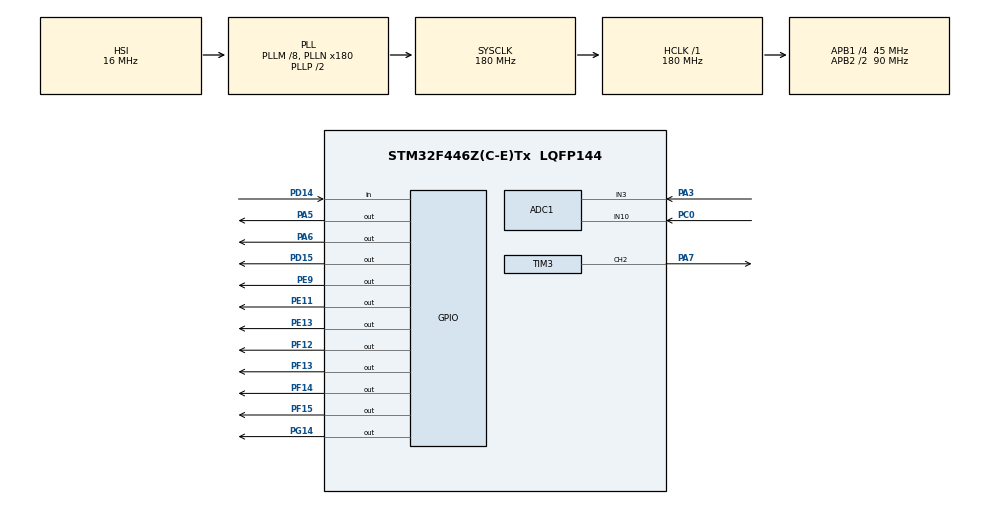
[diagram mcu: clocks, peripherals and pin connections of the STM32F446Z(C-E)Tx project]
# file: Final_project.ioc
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ADC1.Channel-0\#ChannelRegularConversion=ADC_CHANNEL_3
ADC1.NbrOfConversionFlag=1
ADC1.Rank-0\#ChannelRegularConversion=1
ADC1.SamplingTime-0\#ChannelRegularConversion=ADC_SAMPLETIME_3CYCLES
ADC1.master=1
Mcu.Family=STM32F4
Mcu.Name=STM32F446Z(C-E)Tx
Mcu.Package=LQFP144
NVIC.PriorityGroup=NVIC_PRIORITYGROUP_4
PA3.Signal=ADCx_IN3
PA5.Signal=GPIO_Output
PA6.Signal=GPIO_Output
PA7.Signal=S_TIM3_CH2
PC0.Signal=SharedAnalog_PC0
PD14.GPIO_PuPd=GPIO_PULLUP
PD14.Signal=GPIO_Input
PD15.Signal=GPIO_Output
PE11.Signal=GPIO_Output
PE13.Signal=GPIO_Output
PE9.Signal=GPIO_Output
PF12.Signal=GPIO_Output
PF13.Signal=GPIO_Output
PF14.Signal=GPIO_Output
PF15.Signal=GPIO_Output
PG14.Signal=GPIO_Output
ProjectManager.HeapSize=0x200
ProjectManager.StackSize=0x400
ProjectManager.TargetToolchain=STM32CubeIDE
RCC.AHBFreq_Value=180000000
RCC.APB1CLKDivider=RCC_HCLK_DIV4
RCC.APB1Freq_Value=45000000
RCC.APB1TimFreq_Value=90000000
RCC.APB2CLKDivider=RCC_HCLK_DIV2
RCC.APB2Freq_Value=90000000
RCC.APB2TimFreq_Value=180000000
RCC.CortexFreq_Value=180000000
RCC.HCLKFreq_Value=180000000
RCC.PLLM=8
RCC.PLLN=180
RCC.SYSCLKFreq_VALUE=180000000
RCC.SYSCLKSource=RCC_SYSCLKSOURCE_PLLCLK
RCC.USBFreq_Value=180000000
RCC.VCOOutputFreq_Value=360000000
SH.ADCx_IN3.0=ADC1_IN3,IN3
SH.S_TIM3_CH2.0=TIM3_CH2,PWM Generation2 CH2
SH.SharedAnalog_PC0.0=GPIO_Analog
SH.SharedAnalog_PC0.1=ADC1_IN10,IN10
TIM3.Channel-PWM\ Generation2\ CH2=TIM_CHANNEL_2
TIM3.Period=10000-1
TIM3.Prescaler=180-1
VP_TIM3_VS_ClockSourceINT.Mode=Internal
board=custom

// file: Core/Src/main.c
/* USER CODE BEGIN Header */
/**
  ******************************************************************************
  * @file           : main.c
  * @brief          : Main program body
  ******************************************************************************
  */
/* USER CODE END Header */
#include "main.h"

/* USER CODE BEGIN Includes */
#include "lcd.h"
/* USER CODE END Includes */

ADC_HandleTypeDef hadc1;

TIM_HandleTypeDef htim3;

/* USER CODE BEGIN PV */
uint32_t adc_value = 0;
uint32_t pot_value = 0;
float voltage = 0.0;
float temperature = 0.0;

uint16_t temp_low = 20;
uint16_t temp_high = 30;

Lcd_PortType ports[] = { GPIOF, GPIOE, GPIOE, GPIOF };
Lcd_PinType pins[] = { GPIO_PIN_14, GPIO_PIN_11, GPIO_PIN_9, GPIO_PIN_13 };
Lcd_HandleTypeDef lcd;

uint8_t button_pressed = 0;
/* USER CODE END PV */

void SystemClock_Config(void);
static void MX_GPIO_Init(void);
static void MX_ADC1_Init(void);
static void MX_TIM3_Init(void);

int main(void)
{

  /* MCU Configuration--------------------------------------------------------*/

  /* Reset of all peripherals, Initializes the Flash interface and the Systick. */
  HAL_Init();

  /* Configure the system clock */
  SystemClock_Config();

  /* Initialize all configured peripherals */
  MX_GPIO_Init();
  MX_ADC1_Init();
  MX_TIM3_Init();
  /* USER CODE BEGIN 2 */
  lcd = Lcd_create(ports, pins, GPIOA, GPIO_PIN_5, GPIOA, GPIO_PIN_6, LCD_4_BIT_MODE);
  HAL_TIM_PWM_Start(&htim3, TIM_CHANNEL_2);

  /* USER CODE END 2 */

  /* Infinite loop */
  while (1)
  {

    /* USER CODE BEGIN 3 */
	  Lcd_cursor(&lcd, 0, 0);
	  Lcd_string(&lcd, "Set Temp Range");

	  ADC_ChannelConfTypeDef sConfig = {0};
	  sConfig.Channel = ADC_CHANNEL_10;
	  sConfig.Rank = 1;
	  sConfig.SamplingTime = ADC_SAMPLETIME_3CYCLES;
	  HAL_ADC_ConfigChannel(&hadc1, &sConfig);
	  HAL_Delay(100);

	  HAL_ADC_Start(&hadc1);
	  HAL_ADC_PollForConversion(&hadc1, HAL_MAX_DELAY);
	  pot_value = HAL_ADC_GetValue(&hadc1);
	  HAL_ADC_Stop(&hadc1);

	  if (pot_value < 1500) {
		  temp_low = 15;
		  temp_high = 25;
	  } else if (pot_value < 3000) {
		  temp_low = 20;
		  temp_high = 30;
	  } else {
		  temp_low = 30;
		  temp_high = 40;
	  }

	  Lcd_cursor(&lcd, 1, 0);
	  Lcd_string(&lcd, "Low:");
	  Lcd_int(&lcd, temp_low);
	  Lcd_string(&lcd, " High:");
	  Lcd_int(&lcd, temp_high);

	  if (HAL_GPIO_ReadPin(GPIOD, GPIO_PIN_14) == GPIO_PIN_RESET) {
		  HAL_Delay(50);
		  if (HAL_GPIO_ReadPin(GPIOD, GPIO_PIN_14) == GPIO_PIN_RESET) {
			  Lcd_clear(&lcd);
			  break;
		  }
	  }

	  HAL_Delay(100);
  }

  while (1) {
	  ADC_ChannelConfTypeDef sConfig = {0};
	  sConfig.Channel = ADC_CHANNEL_3;
	  sConfig.Rank = 1;
	  sConfig.SamplingTime = ADC_SAMPLETIME_3CYCLES;
	  HAL_ADC_ConfigChannel(&hadc1, &sConfig);
	  HAL_Delay(100);

	  HAL_ADC_Start(&hadc1);
	  HAL_ADC_PollForConversion(&hadc1, HAL_MAX_DELAY);
	  adc_value = HAL_ADC_GetValue(&hadc1);
	  HAL_ADC_Stop(&hadc1);

	  voltage = (adc_value / 4095.0) * 3.3;
	  temperature = voltage * 100.0;

	  Lcd_cursor(&lcd, 0, 0);
	  Lcd_string(&lcd, "Temp Monitor");
	  Lcd_cursor(&lcd, 1, 0);
	  Lcd_string(&lcd, "Temp: ");

	  int temp_int = (int)temperature;
	  int temp_frac = (int)((temperature - temp_int) * 100);

	  Lcd_int(&lcd, temp_int);
	  Lcd_string(&lcd, ".");
	  if (temp_frac < 10)
		  Lcd_string(&lcd, "0");
	  Lcd_int(&lcd, temp_frac);
	  Lcd_string(&lcd, " C");

	  if (temperature < temp_low) {
		  HAL_GPIO_WritePin(GPIOG, GPIO_PIN_14, GPIO_PIN_RESET);
		  HAL_GPIO_WritePin(GPIOF, GPIO_PIN_15, GPIO_PIN_RESET);
		  HAL_GPIO_WritePin(GPIOE, GPIO_PIN_13, GPIO_PIN_SET);
		  __HAL_TIM_SET_COMPARE(&htim3, TIM_CHANNEL_2, 1250);
		  HAL_GPIO_WritePin(GPIOF, GPIO_PIN_12, GPIO_PIN_RESET);
		  HAL_GPIO_WritePin(GPIOD, GPIO_PIN_15, GPIO_PIN_RESET);
	  } else if (temperature <= temp_high) {
		  HAL_GPIO_WritePin(GPIOG, GPIO_PIN_14, GPIO_PIN_RESET);
		  HAL_GPIO_WritePin(GPIOF, GPIO_PIN_15, GPIO_PIN_SET);
		  HAL_GPIO_WritePin(GPIOE, GPIO_PIN_13, GPIO_PIN_RESET);
		  __HAL_TIM_SET_COMPARE(&htim3, TIM_CHANNEL_2, 750);
		  HAL_GPIO_WritePin(GPIOF, GPIO_PIN_12, GPIO_PIN_RESET);
		  HAL_GPIO_WritePin(GPIOD, GPIO_PIN_15, GPIO_PIN_SET);
	  } else {
		  HAL_GPIO_WritePin(GPIOG, GPIO_PIN_14, GPIO_PIN_SET);
		  HAL_GPIO_WritePin(GPIOF, GPIO_PIN_15, GPIO_PIN_RESET);
		  HAL_GPIO_WritePin(GPIOE, GPIO_PIN_13, GPIO_PIN_RESET);
		  __HAL_TIM_SET_COMPARE(&htim3, TIM_CHANNEL_2, 250);
		  HAL_GPIO_WritePin(GPIOF, GPIO_PIN_12, GPIO_PIN_SET);
		  HAL_GPIO_WritePin(GPIOD, GPIO_PIN_15, GPIO_PIN_RESET);
		  HAL_Delay(500);
		  HAL_GPIO_WritePin(GPIOD, GPIO_PIN_15, GPIO_PIN_SET);
		  HAL_Delay(500);

	  }
	  }
	  HAL_Delay(1000);
  /* USER CODE END 3 */
}

void SystemClock_Config(void)
{
  RCC_OscInitTypeDef RCC_OscInitStruct = {0};
  RCC_ClkInitTypeDef RCC_ClkInitStruct = {0};

  /** Configure the main internal regulator output voltage
  */
  __HAL_RCC_PWR_CLK_ENABLE();
  __HAL_PWR_VOLTAGESCALING_CONFIG(PWR_REGULATOR_VOLTAGE_SCALE1);

  /** Initializes the RCC Oscillators according to the specified parameters
  * in the RCC_OscInitTypeDef structure.
  */
  RCC_OscInitStruct.OscillatorType = RCC_OSCILLATORTYPE_HSI;
  RCC_OscInitStruct.HSIState = RCC_HSI_ON;
  RCC_OscInitStruct.HSICalibrationValue = RCC_HSICALIBRATION_DEFAULT;
  RCC_OscInitStruct.PLL.PLLState = RCC_PLL_ON;
  RCC_OscInitStruct.PLL.PLLSource = RCC_PLLSOURCE_HSI;
  RCC_OscInitStruct.PLL.PLLM = 8;
  RCC_OscInitStruct.PLL.PLLN = 180;
  RCC_OscInitStruct.PLL.PLLP = RCC_PLLP_DIV2;
  RCC_OscInitStruct.PLL.PLLQ = 2;
  RCC_OscInitStruct.PLL.PLLR = 2;
  if (HAL_RCC_OscConfig(&RCC_OscInitStruct) != HAL_OK)
  {
    Error_Handler();
  }

  /** Activate the Over-Drive mode
  */
  if (HAL_PWREx_EnableOverDrive() != HAL_OK)
  {
    Error_Handler();
  }

  /** Initializes the CPU, AHB and APB buses clocks
  */
  RCC_ClkInitStruct.ClockType = RCC_CLOCKTYPE_HCLK|RCC_CLOCKTYPE_SYSCLK
                              |RCC_CLOCKTYPE_PCLK1|RCC_CLOCKTYPE_PCLK2;
  RCC_ClkInitStruct.SYSCLKSource = RCC_SYSCLKSOURCE_PLLCLK;
  RCC_ClkInitStruct.AHBCLKDivider = RCC_SYSCLK_DIV1;
  RCC_ClkInitStruct.APB1CLKDivider = RCC_HCLK_DIV4;
  RCC_ClkInitStruct.APB2CLKDivider = RCC_HCLK_DIV2;

  if (HAL_RCC_ClockConfig(&RCC_ClkInitStruct, FLASH_LATENCY_5) != HAL_OK)
  {
    Error_Handler();
  }
}

static void MX_ADC1_Init(void)
{

  ADC_ChannelConfTypeDef sConfig = {0};

  /** Configure the global features of the ADC (Clock, Resolution, Data Alignment and number of conversion)
  */
  hadc1.Instance = ADC1;
  hadc1.Init.ClockPrescaler = ADC_CLOCK_SYNC_PCLK_DIV4;
  hadc1.Init.Resolution = ADC_RESOLUTION_12B;
  hadc1.Init.ScanConvMode = DISABLE;
  hadc1.Init.ContinuousConvMode = DISABLE;
  hadc1.Init.DiscontinuousConvMode = DISABLE;
  hadc1.Init.ExternalTrigConvEdge = ADC_EXTERNALTRIGCONVEDGE_NONE;
  hadc1.Init.ExternalTrigConv = ADC_SOFTWARE_START;
  hadc1.Init.DataAlign = ADC_DATAALIGN_RIGHT;
  hadc1.Init.NbrOfConversion = 1;
  hadc1.Init.DMAContinuousRequests = DISABLE;
  hadc1.Init.EOCSelection = ADC_EOC_SINGLE_CONV;
  if (HAL_ADC_Init(&hadc1) != HAL_OK)
  {
    Error_Handler();
  }

  /** Configure for the selected ADC regular channel its corresponding rank in the sequencer and its sample time.
  */
  sConfig.Channel = ADC_CHANNEL_3;
  sConfig.Rank = 1;
  sConfig.SamplingTime = ADC_SAMPLETIME_3CYCLES;
  if (HAL_ADC_ConfigChannel(&hadc1, &sConfig) != HAL_OK)
  {
    Error_Handler();
  }

}

static void MX_TIM3_Init(void)
{

  TIM_ClockConfigTypeDef sClockSourceConfig = {0};
  TIM_MasterConfigTypeDef sMasterConfig = {0};
  TIM_OC_InitTypeDef sConfigOC = {0};

  htim3.Instance = TIM3;
  htim3.Init.Prescaler = 180-1;
  htim3.Init.CounterMode = TIM_COUNTERMODE_UP;
  htim3.Init.Period = 10000-1;
  htim3.Init.ClockDivision = TIM_CLOCKDIVISION_DIV1;
  htim3.Init.AutoReloadPreload = TIM_AUTORELOAD_PRELOAD_DISABLE;
  if (HAL_TIM_Base_Init(&htim3) != HAL_OK)
  {
    Error_Handler();
  }
  sClockSourceConfig.ClockSource = TIM_CLOCKSOURCE_INTERNAL;
  if (HAL_TIM_ConfigClockSource(&htim3, &sClockSourceConfig) != HAL_OK)
  {
    Error_Handler();
  }
  if (HAL_TIM_PWM_Init(&htim3) != HAL_OK)
  {
    Error_Handler();
  }
  sMasterConfig.MasterOutputTrigger = TIM_TRGO_RESET;
  sMasterConfig.MasterSlaveMode = TIM_MASTERSLAVEMODE_DISABLE;
  if (HAL_TIMEx_MasterConfigSynchronization(&htim3, &sMasterConfig) != HAL_OK)
  {
    Error_Handler();
  }
  sConfigOC.OCMode = TIM_OCMODE_PWM1;
  sConfigOC.Pulse = 0;
  sConfigOC.OCPolarity = TIM_OCPOLARITY_HIGH;
  sConfigOC.OCFastMode = TIM_OCFAST_DISABLE;
  if (HAL_TIM_PWM_ConfigChannel(&htim3, &sConfigOC, TIM_CHANNEL_2) != HAL_OK)
  {
    Error_Handler();
  }
  HAL_TIM_MspPostInit(&htim3);

}

static void MX_GPIO_Init(void)
{
  GPIO_InitTypeDef GPIO_InitStruct = {0};

  /* GPIO Ports Clock Enable */
  __HAL_RCC_GPIOC_CLK_ENABLE();
  __HAL_RCC_GPIOA_CLK_ENABLE();
  __HAL_RCC_GPIOF_CLK_ENABLE();
  __HAL_RCC_GPIOE_CLK_ENABLE();
  __HAL_RCC_GPIOD_CLK_ENABLE();
  __HAL_RCC_GPIOG_CLK_ENABLE();

  /*Configure GPIO pin Output Level */
  HAL_GPIO_WritePin(GPIOA, GPIO_PIN_5|GPIO_PIN_6, GPIO_PIN_RESET);

  /*Configure GPIO pin Output Level */
  HAL_GPIO_WritePin(GPIOF, GPIO_PIN_12|GPIO_PIN_13|GPIO_PIN_14|GPIO_PIN_15, GPIO_PIN_RESET);

  /*Configure GPIO pin Output Level */
  HAL_GPIO_WritePin(GPIOE, GPIO_PIN_9|GPIO_PIN_11|GPIO_PIN_13, GPIO_PIN_RESET);

  /*Configure GPIO pin Output Level */
  HAL_GPIO_WritePin(GPIOD, GPIO_PIN_15, GPIO_PIN_RESET);

  /*Configure GPIO pin Output Level */
  HAL_GPIO_WritePin(GPIOG, GPIO_PIN_14, GPIO_PIN_RESET);

  /*Configure GPIO pins : PA5 PA6 */
  GPIO_InitStruct.Pin = GPIO_PIN_5|GPIO_PIN_6;
  GPIO_InitStruct.Mode = GPIO_MODE_OUTPUT_PP;
  GPIO_InitStruct.Pull = GPIO_NOPULL;
  GPIO_InitStruct.Speed = GPIO_SPEED_FREQ_LOW;
  HAL_GPIO_Init(GPIOA, &GPIO_InitStruct);

  /*Configure GPIO pins : PF12 PF13 PF14 PF15 */
  GPIO_InitStruct.Pin = GPIO_PIN_12|GPIO_PIN_13|GPIO_PIN_14|GPIO_PIN_15;
  GPIO_InitStruct.Mode = GPIO_MODE_OUTPUT_PP;
  GPIO_InitStruct.Pull = GPIO_NOPULL;
  GPIO_InitStruct.Speed = GPIO_SPEED_FREQ_LOW;
  HAL_GPIO_Init(GPIOF, &GPIO_InitStruct);

  /*Configure GPIO pins : PE9 PE11 PE13 */
  GPIO_InitStruct.Pin = GPIO_PIN_9|GPIO_PIN_11|GPIO_PIN_13;
  GPIO_InitStruct.Mode = GPIO_MODE_OUTPUT_PP;
  GPIO_InitStruct.Pull = GPIO_NOPULL;
  GPIO_InitStruct.Speed = GPIO_SPEED_FREQ_LOW;
  HAL_GPIO_Init(GPIOE, &GPIO_InitStruct);

  /*Configure GPIO pin : PD14 */
  GPIO_InitStruct.Pin = GPIO_PIN_14;
  GPIO_InitStruct.Mode = GPIO_MODE_INPUT;
  GPIO_InitStruct.Pull = GPIO_PULLUP;
  HAL_GPIO_Init(GPIOD, &GPIO_InitStruct);

  /*Configure GPIO pin : PD15 */
  GPIO_InitStruct.Pin = GPIO_PIN_15;
  GPIO_InitStruct.Mode = GPIO_MODE_OUTPUT_PP;
  GPIO_InitStruct.Pull = GPIO_NOPULL;
  GPIO_InitStruct.Speed = GPIO_SPEED_FREQ_LOW;
  HAL_GPIO_Init(GPIOD, &GPIO_InitStruct);

  /*Configure GPIO pin : PG14 */
  GPIO_InitStruct.Pin = GPIO_PIN_14;
  GPIO_InitStruct.Mode = GPIO_MODE_OUTPUT_PP;
  GPIO_InitStruct.Pull = GPIO_NOPULL;
  GPIO_InitStruct.Speed = GPIO_SPEED_FREQ_LOW;
  HAL_GPIO_Init(GPIOG, &GPIO_InitStruct);

/* USER CODE BEGIN MX_GPIO_Init_2 */
  HAL_GPIO_WritePin(GPIOA, GPIO_PIN_5|GPIO_PIN_6, GPIO_PIN_RESET);
  HAL_GPIO_WritePin(GPIOF, GPIO_PIN_13|GPIO_PIN_14|GPIO_PIN_15, GPIO_PIN_RESET);
  HAL_GPIO_WritePin(GPIOE, GPIO_PIN_9|GPIO_PIN_11|GPIO_PIN_13, GPIO_PIN_RESET);
  HAL_GPIO_WritePin(GPIOG, GPIO_PIN_14, GPIO_PIN_RESET);

  GPIO_InitStruct.Pin = GPIO_PIN_5|GPIO_PIN_6;
  GPIO_InitStruct.Mode = GPIO_MODE_OUTPUT_PP;
  GPIO_InitStruct.Pull = GPIO_NOPULL;
  GPIO_InitStruct.Speed = GPIO_SPEED_FREQ_LOW;
  HAL_GPIO_Init(GPIOA, &GPIO_InitStruct);

  GPIO_InitStruct.Pin = GPIO_PIN_13|GPIO_PIN_14|GPIO_PIN_15;
  HAL_GPIO_Init(GPIOF, &GPIO_InitStruct);

  GPIO_InitStruct.Pin = GPIO_PIN_14;
  HAL_GPIO_Init(GPIOG, &GPIO_InitStruct);

  GPIO_InitStruct.Pin = GPIO_PIN_9|GPIO_PIN_11|GPIO_PIN_13;
  HAL_GPIO_Init(GPIOE, &GPIO_InitStruct);

  GPIO_InitStruct.Pin = GPIO_PIN_14;
  GPIO_InitStruct.Mode = GPIO_MODE_INPUT;
  GPIO_InitStruct.Pull = GPIO_PULLUP;
  HAL_GPIO_Init(GPIOD, &GPIO_InitStruct);

  GPIO_InitStruct.Pin = GPIO_PIN_12;
  GPIO_InitStruct.Mode = GPIO_MODE_OUTPUT_PP;
  GPIO_InitStruct.Pull = GPIO_NOPULL;
  GPIO_InitStruct.Speed = GPIO_SPEED_FREQ_LOW;
  HAL_GPIO_Init(GPIOF, &GPIO_InitStruct);

  GPIO_InitStruct.Pin = GPIO_PIN_15;
  GPIO_InitStruct.Mode = GPIO_MODE_OUTPUT_PP;
  GPIO_InitStruct.Pull = GPIO_NOPULL;
  GPIO_InitStruct.Speed = GPIO_SPEED_FREQ_LOW;
  HAL_GPIO_Init(GPIOD, &GPIO_InitStruct);
/* USER CODE END MX_GPIO_Init_2 */
}

void Error_Handler(void)
{
  __disable_irq();
  while (1)
  {
  }
}
